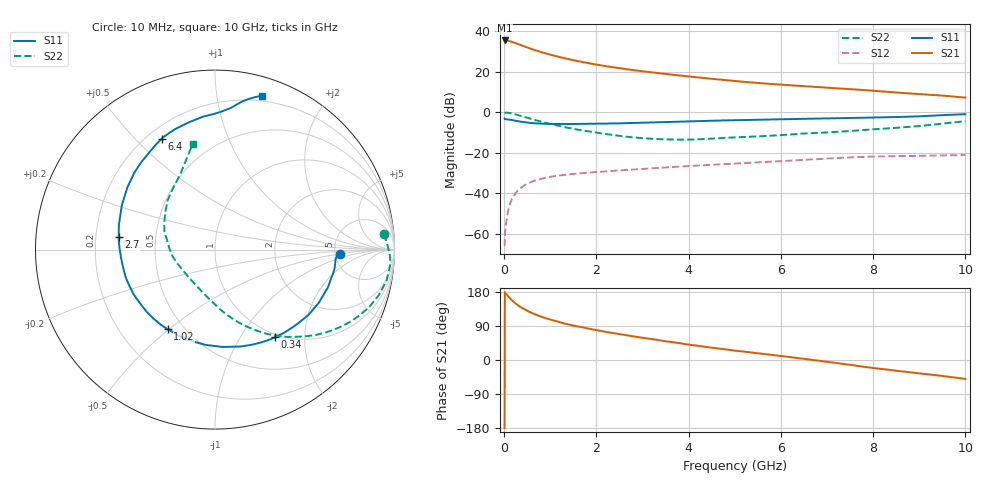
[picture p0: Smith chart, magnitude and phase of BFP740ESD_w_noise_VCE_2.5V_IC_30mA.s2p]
! Infineon Technologies  Discrete & RF Semiconductors
! BFP740ESD
! VCE =  2.5 V,  IC =  30 mA
! Common Emitter S-Parameters:  Jan 2016
# GHz  S  MA  R  50
!  f  S11  S21  S12  S22
! GHz  MAG  ANG  MAG  ANG  MAG  ANG  MAG  ANG
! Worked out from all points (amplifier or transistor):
!   233 points, 10 MHz to 10 GHz, reference 50 ohm
!   highest |S21| = 35.4 dB at 10 MHz (marker M1)
!   |S21| within 3 dB of that: start of sweep to 444.2 MHz
!   unconditionally stable (mu >= 1): 4.171 GHz to 6.878 GHz
!   at 200 MHz: K = 0.19, MSG = 38.0 dB, |S12| = -41.5 dB
!   at 1.74 GHz: K = 0.68, MSG = 27.3 dB, |S12| = -29.9 dB
!   at 10 GHz: K = 0.72, MSG = 14.2 dB, |S12| = -21.1 dB
!   lowest NFmin = 0.96 dB at 450 MHz
!   S11 on the Smith chart (normalised r, x): 10 MHz: 5.55, -0.47; 340 MHz: 0.95, -1.44; 1.02 GHz: 0.41, -0.50; 2.7 GHz: 0.30, +0.06; 6.4 GHz: 0.26, +0.60; 10 GHz: 0.15, +1.34
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0.01  0.6965 -1.8  58.95 -179.5  0.0005 90.6  0.946 5.2
0.02  0.6744 -4.1  58.41 177.3  0.0011 98.1  0.9731 -1.0
0.03  0.6739 -5.9  58.32 175.9  0.0014 90.3  0.9755 -2.2
0.1  0.6633 -18.5  57.48 166.5  0.0044 82.0  0.9715 -10.2
0.15  0.6498 -27.1  55.54 160.0  0.0065 77.7  0.9479 -15.5
0.24  0.6199 -41.2  51.08 150.0  0.0098 71.5  0.8921 -23.5
0.3  0.6029 -50.0  48.24 144.3  0.0118 68.1  0.853 -28.2
0.34  0.5924 -55.5  46.31 141.1  0.013 65.9  0.8271 -31.0
0.45  0.5679 -69.2  41.5 133.0  0.0161 60.8  0.7599 -37.8
0.6  0.544 -85.6  36.08 123.9  0.0194 55.2  0.6778 -45.7
0.8  0.5261 -103.9  30.52 114.4  0.0229 49.6  0.5887 -54.5
1.02  0.5162 -120.6  25.95 105.8  0.0258 45.0  0.5093 -62.6
1.32  0.5143 -138.5  21.36 96.0  0.0288 40.8  0.4279 -71.8
1.68  0.5172 -154.9  17.5 86.3  0.0315 37.7  0.3594 -81.0
2.2  0.5245 -173.3  13.75 74.3  0.0349 35.1  0.2918 -93.1
2.7  0.5412 172.6  11.34 64.3  0.038 33.5  0.2464 -106.5
3.4  0.5687 156.7  9.056 51.5  0.0428 31.7  0.2169 -126.5
5.1  0.6394 129.2  5.753 23.5  0.0548 25.6  0.2428 -173.7
6.4  0.6854 115.7  4.475 4.6  0.0661 20.0  0.294 161.7
6.8  0.6989 111.0  4.188 -1.5  0.0702 17.5  0.3102 155.5
8.4  0.7574 90.0  3.133 -26.8  0.0824 3.2  0.4057 126.4
10  0.8973 73.1  2.296 -50.0  0.0881 -9.2  0.6005 102.0
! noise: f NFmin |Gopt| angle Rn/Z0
0.45  0.96  0.14  -174  0.18
0.9  1.01  0.16  -162  0.09
1.9  1.03  0.19  -150  0.11
2.4  1.09  0.22  -136  0.12
5.5  1.24  0.37  -113  0.14
10  1.81  0.58  -83  0.65
